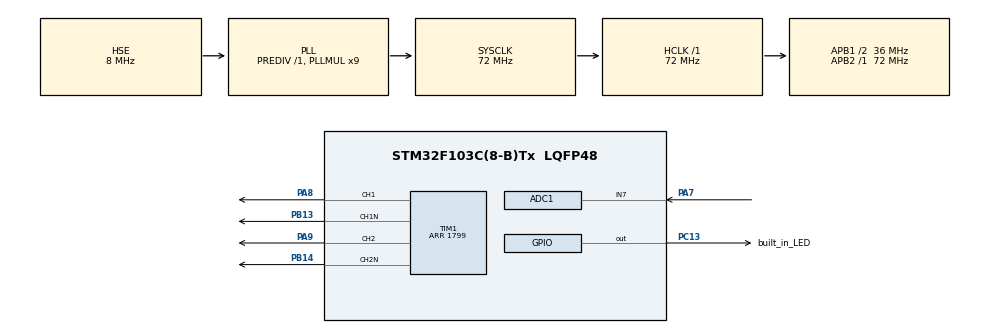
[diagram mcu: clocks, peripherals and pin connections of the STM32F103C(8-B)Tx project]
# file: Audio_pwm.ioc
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ADC1.Channel-2\#ChannelRegularConversion=ADC_CHANNEL_7
ADC1.ContinuousConvMode=DISABLE
ADC1.EnableInjectedConversion=DISABLE
ADC1.EnableRegularConversion=ENABLE
ADC1.ExternalTrigConv=ADC_EXTERNALTRIGCONV_T3_TRGO
ADC1.NbrOfConversionFlag=1
ADC1.Rank-2\#ChannelRegularConversion=1
ADC1.SamplingTime-2\#ChannelRegularConversion=ADC_SAMPLETIME_13CYCLES_5
ADC1.master=1
Dma.ADC1.0.Direction=DMA_PERIPH_TO_MEMORY
Dma.ADC1.0.Instance=DMA1_Channel1
Dma.ADC1.0.MemDataAlignment=DMA_MDATAALIGN_HALFWORD
Dma.ADC1.0.MemInc=DMA_MINC_ENABLE
Dma.ADC1.0.Mode=DMA_CIRCULAR
Dma.ADC1.0.PeriphDataAlignment=DMA_PDATAALIGN_HALFWORD
Dma.ADC1.0.PeriphInc=DMA_PINC_DISABLE
Dma.ADC1.0.Priority=DMA_PRIORITY_VERY_HIGH
Dma.Request0=ADC1
Mcu.Family=STM32F1
Mcu.Name=STM32F103C(8-B)Tx
Mcu.Package=LQFP48
NVIC.DMA1_Channel1_IRQn=true\:0\:0\:false\:false\:true\:false\:true\:true
NVIC.PriorityGroup=NVIC_PRIORITYGROUP_4
PA13.Mode=Serial_Wire
PA13.Signal=SYS_JTMS-SWDIO
PA14.Mode=Serial_Wire
PA14.Signal=SYS_JTCK-SWCLK
PA7.Signal=ADCx_IN7
PA8.Signal=S_TIM1_CH1
PA9.Signal=S_TIM1_CH2
PB13.Mode=PWM Generation1 CH1 CH1N
PB13.Signal=TIM1_CH1N
PB14.Mode=PWM Generation2 CH2 CH2N
PB14.Signal=TIM1_CH2N
PC13-TAMPER-RTC.GPIO_Label=built_in_LED
PC13-TAMPER-RTC.GPIO_PuPd=GPIO_PULLUP
PC13-TAMPER-RTC.Signal=GPIO_Output
PD0-OSC_IN.Mode=HSE-External-Oscillator
PD0-OSC_IN.Signal=RCC_OSC_IN
PD1-OSC_OUT.Mode=HSE-External-Oscillator
PD1-OSC_OUT.Signal=RCC_OSC_OUT
ProjectManager.HeapSize=0x200
ProjectManager.StackSize=0x400
ProjectManager.TargetToolchain=STM32CubeIDE
RCC.ADCPresc=RCC_ADCPCLK2_DIV6
RCC.AHBFreq_Value=72000000
RCC.APB1CLKDivider=RCC_HCLK_DIV2
RCC.APB1Freq_Value=36000000
RCC.APB1TimFreq_Value=72000000
RCC.APB2Freq_Value=72000000
RCC.APB2TimFreq_Value=72000000
RCC.HCLKFreq_Value=72000000
RCC.PLLMUL=RCC_PLL_MUL9
RCC.PLLSourceVirtual=RCC_PLLSOURCE_HSE
RCC.SYSCLKFreq_VALUE=72000000
RCC.SYSCLKSource=RCC_SYSCLKSOURCE_PLLCLK
RCC.USBFreq_Value=72000000
SH.ADCx_IN7.0=ADC1_IN7,IN7
SH.S_TIM1_CH1.0=TIM1_CH1,PWM Generation1 CH1 CH1N
SH.S_TIM1_CH2.0=TIM1_CH2,PWM Generation2 CH2 CH2N
TIM1.Channel-PWM\ Generation1\ CH1\ CH1N=TIM_CHANNEL_1
TIM1.Channel-PWM\ Generation2\ CH2\ CH2N=TIM_CHANNEL_2
TIM1.Period=1799
TIM1.Pulse-PWM\ Generation1\ CH1\ CH1N=900
TIM1.Pulse-PWM\ Generation2\ CH2\ CH2N=900
TIM3.Period=9
TIM3.Prescaler=71
TIM3.TIM_MasterOutputTrigger=TIM_TRGO_UPDATE
TIM3.TIM_MasterSlaveMode=TIM_MASTERSLAVEMODE_DISABLE
VP_TIM1_VS_ClockSourceINT.Mode=Internal
VP_TIM3_VS_ClockSourceINT.Mode=Internal
board=custom

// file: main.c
/* USER CODE BEGIN Header */
/**
  ******************************************************************************
  * @file           : main.c
  * @brief          : Main program body
  ******************************************************************************
  * @attention
  *
  * Copyright (c) 2026 STMicroelectronics.
  * All rights reserved.
  *
  * This software is licensed under terms that can be found in the LICENSE file
  * in the root directory of this software component.
  * If no LICENSE file comes with this software, it is provided AS-IS.
  *
  ******************************************************************************
  */
/* USER CODE END Header */
#include "main.h"

/* USER CODE BEGIN PTD */
/* ADC State define */
typedef enum {
	ADC_STATE_NONE,
	ADC_STATE_HALF,
	ADC_STATE_FULL
}ADC_DMA_state_t;

/* USER CODE END PTD */

/* USER CODE BEGIN PD */
#define PWM_OVERFLOW 1500 //(PWM_HALF+600)
#define PWM_HALF 900 // (PWM_ARR / 2), this is mid value of PWM duty cycle
#define PWM_UNDERFLOW 300 // (PWM_HALF-600)
#define ADC_MID_VALUE 2048 //ADC input range / 2 = 2048

#define BUFFER_SIZE 100
#define BUFFER_SIZE_HALF 50

/* USER CODE END PD */

ADC_HandleTypeDef hadc1;
DMA_HandleTypeDef hdma_adc1;

TIM_HandleTypeDef htim1;
TIM_HandleTypeDef htim3;

/* USER CODE BEGIN PV */
volatile uint16_t audio_buffer[BUFFER_SIZE]; //audio signal buffer
volatile ADC_DMA_state_t adc_conv_flag = ADC_STATE_NONE;
/* USER CODE END PV */

void SystemClock_Config(void);
static void MX_GPIO_Init(void);
static void MX_DMA_Init(void);
static void MX_ADC1_Init(void);
static void MX_TIM1_Init(void);
static void MX_TIM3_Init(void);
/* USER CODE BEGIN PFP */

/*Check MCU Status*/
static inline void Heartbeat();

/* caculate PWM duty cycle */
static inline void audio_dsp(volatile uint16_t *buf, uint16_t start_index, uint16_t last_index, size_t cal_size);

/* USER CODE END PFP */

/* USER CODE BEGIN 0 */

/*Check MCU Status*/
static inline void Heartbeat() {
	static uint32_t prev_tick_val = 0;

	if (HAL_GetTick() - prev_tick_val > 500) {
		prev_tick_val = HAL_GetTick();
		HAL_GPIO_TogglePin(GPIOC, GPIO_PIN_13);
	}
}

static inline void audio_dsp(volatile uint16_t *buf, uint16_t start_index, uint16_t last_index, size_t cal_size) {

	/* array for save calculation result */
	static int32_t deviation;

	/* caculate PWM deviation */
	for (int i = start_index; i<last_index+1; i++) {
		deviation = ((((int32_t)buf[i]-(int32_t)ADC_MID_VALUE)*600)>>11)+PWM_HALF;

		/* check value */
		if (deviation > PWM_OVERFLOW) {
			deviation = PWM_OVERFLOW;
		} else if (deviation < PWM_UNDERFLOW) {
			deviation = PWM_UNDERFLOW;
		}

		/* final pwm_out */
		__HAL_TIM_SET_COMPARE(&htim1, TIM_CHANNEL_1,(uint16_t)deviation);
		__HAL_TIM_SET_COMPARE(&htim1, TIM_CHANNEL_2,(uint16_t)deviation);
	}
}

/* USER CODE END 0 */

int main(void)
{

  /* MCU Configuration--------------------------------------------------------*/

  /* Reset of all peripherals, Initializes the Flash interface and the Systick. */
  HAL_Init();

  /* Configure the system clock */
  SystemClock_Config();

  /* Initialize all configured peripherals */
  MX_GPIO_Init();
  MX_DMA_Init();
  MX_ADC1_Init();
  MX_TIM1_Init();
  MX_TIM3_Init();
  /* USER CODE BEGIN 2 */
  /* Start PWM Output */
  HAL_TIM_PWM_Start(&htim1, TIM_CHANNEL_1);
  HAL_TIMEx_PWMN_Start(&htim1, TIM_CHANNEL_1);

  HAL_TIM_PWM_Start(&htim1, TIM_CHANNEL_2);
  HAL_TIMEx_PWMN_Start(&htim1, TIM_CHANNEL_2);

  /* Start TIM_3 */
  HAL_TIM_Base_Start(&htim3);

  /* Start ADC with DMA */
  HAL_ADC_Start_DMA(&hadc1, audio_buffer, BUFFER_SIZE);

  /* USER CODE END 2 */

  /* Infinite loop */
  while (1)
  {

    /* USER CODE BEGIN 3 */
	  Heartbeat();

	  /* PWM duty cycle Calculation */
	  if (adc_conv_flag != ADC_STATE_NONE) {
		  ADC_DMA_state_t current_flag = adc_conv_flag;
		  adc_conv_flag = ADC_STATE_NONE;
		  switch(current_flag) {
		  case ADC_STATE_HALF:
			  //audio_buffer[0]-[49]
			  audio_dsp(audio_buffer,0,BUFFER_SIZE_HALF, BUFFER_SIZE_HALF);
			  break;
		  case ADC_STATE_FULL:
			  //audio_buffer[50]-[99]
			  audio_dsp(audio_buffer,BUFFER_SIZE_HALF,BUFFER_SIZE, BUFFER_SIZE_HALF);
			  break;
		  default:
			  break;
		  }
	  }

  }
  /* USER CODE END 3 */
}

void SystemClock_Config(void)
{
  RCC_OscInitTypeDef RCC_OscInitStruct = {0};
  RCC_ClkInitTypeDef RCC_ClkInitStruct = {0};
  RCC_PeriphCLKInitTypeDef PeriphClkInit = {0};

  /** Initializes the RCC Oscillators according to the specified parameters
  * in the RCC_OscInitTypeDef structure.
  */
  RCC_OscInitStruct.OscillatorType = RCC_OSCILLATORTYPE_HSE;
  RCC_OscInitStruct.HSEState = RCC_HSE_ON;
  RCC_OscInitStruct.HSEPredivValue = RCC_HSE_PREDIV_DIV1;
  RCC_OscInitStruct.HSIState = RCC_HSI_ON;
  RCC_OscInitStruct.PLL.PLLState = RCC_PLL_ON;
  RCC_OscInitStruct.PLL.PLLSource = RCC_PLLSOURCE_HSE;
  RCC_OscInitStruct.PLL.PLLMUL = RCC_PLL_MUL9;
  if (HAL_RCC_OscConfig(&RCC_OscInitStruct) != HAL_OK)
  {
    Error_Handler();
  }

  /** Initializes the CPU, AHB and APB buses clocks
  */
  RCC_ClkInitStruct.ClockType = RCC_CLOCKTYPE_HCLK|RCC_CLOCKTYPE_SYSCLK
                              |RCC_CLOCKTYPE_PCLK1|RCC_CLOCKTYPE_PCLK2;
  RCC_ClkInitStruct.SYSCLKSource = RCC_SYSCLKSOURCE_PLLCLK;
  RCC_ClkInitStruct.AHBCLKDivider = RCC_SYSCLK_DIV1;
  RCC_ClkInitStruct.APB1CLKDivider = RCC_HCLK_DIV2;
  RCC_ClkInitStruct.APB2CLKDivider = RCC_HCLK_DIV1;

  if (HAL_RCC_ClockConfig(&RCC_ClkInitStruct, FLASH_LATENCY_2) != HAL_OK)
  {
    Error_Handler();
  }
  PeriphClkInit.PeriphClockSelection = RCC_PERIPHCLK_ADC;
  PeriphClkInit.AdcClockSelection = RCC_ADCPCLK2_DIV6;
  if (HAL_RCCEx_PeriphCLKConfig(&PeriphClkInit) != HAL_OK)
  {
    Error_Handler();
  }
}

static void MX_ADC1_Init(void)
{

  ADC_ChannelConfTypeDef sConfig = {0};

  /** Common config
  */
  hadc1.Instance = ADC1;
  hadc1.Init.ScanConvMode = ADC_SCAN_DISABLE;
  hadc1.Init.ContinuousConvMode = DISABLE;
  hadc1.Init.DiscontinuousConvMode = DISABLE;
  hadc1.Init.ExternalTrigConv = ADC_EXTERNALTRIGCONV_T3_TRGO;
  hadc1.Init.DataAlign = ADC_DATAALIGN_RIGHT;
  hadc1.Init.NbrOfConversion = 1;
  if (HAL_ADC_Init(&hadc1) != HAL_OK)
  {
    Error_Handler();
  }

  /** Configure Regular Channel
  */
  sConfig.Channel = ADC_CHANNEL_7;
  sConfig.Rank = ADC_REGULAR_RANK_1;
  sConfig.SamplingTime = ADC_SAMPLETIME_13CYCLES_5;
  if (HAL_ADC_ConfigChannel(&hadc1, &sConfig) != HAL_OK)
  {
    Error_Handler();
  }

}

static void MX_TIM1_Init(void)
{

  TIM_ClockConfigTypeDef sClockSourceConfig = {0};
  TIM_MasterConfigTypeDef sMasterConfig = {0};
  TIM_OC_InitTypeDef sConfigOC = {0};
  TIM_BreakDeadTimeConfigTypeDef sBreakDeadTimeConfig = {0};

  htim1.Instance = TIM1;
  htim1.Init.Prescaler = 0;
  htim1.Init.CounterMode = TIM_COUNTERMODE_UP;
  htim1.Init.Period = 1799;
  htim1.Init.ClockDivision = TIM_CLOCKDIVISION_DIV1;
  htim1.Init.RepetitionCounter = 0;
  htim1.Init.AutoReloadPreload = TIM_AUTORELOAD_PRELOAD_DISABLE;
  if (HAL_TIM_Base_Init(&htim1) != HAL_OK)
  {
    Error_Handler();
  }
  sClockSourceConfig.ClockSource = TIM_CLOCKSOURCE_INTERNAL;
  if (HAL_TIM_ConfigClockSource(&htim1, &sClockSourceConfig) != HAL_OK)
  {
    Error_Handler();
  }
  if (HAL_TIM_PWM_Init(&htim1) != HAL_OK)
  {
    Error_Handler();
  }
  sMasterConfig.MasterOutputTrigger = TIM_TRGO_RESET;
  sMasterConfig.MasterSlaveMode = TIM_MASTERSLAVEMODE_DISABLE;
  if (HAL_TIMEx_MasterConfigSynchronization(&htim1, &sMasterConfig) != HAL_OK)
  {
    Error_Handler();
  }
  sConfigOC.OCMode = TIM_OCMODE_PWM1;
  sConfigOC.Pulse = 900;
  sConfigOC.OCPolarity = TIM_OCPOLARITY_HIGH;
  sConfigOC.OCNPolarity = TIM_OCNPOLARITY_HIGH;
  sConfigOC.OCFastMode = TIM_OCFAST_DISABLE;
  sConfigOC.OCIdleState = TIM_OCIDLESTATE_RESET;
  sConfigOC.OCNIdleState = TIM_OCNIDLESTATE_RESET;
  if (HAL_TIM_PWM_ConfigChannel(&htim1, &sConfigOC, TIM_CHANNEL_1) != HAL_OK)
  {
    Error_Handler();
  }
  if (HAL_TIM_PWM_ConfigChannel(&htim1, &sConfigOC, TIM_CHANNEL_2) != HAL_OK)
  {
    Error_Handler();
  }
  sBreakDeadTimeConfig.OffStateRunMode = TIM_OSSR_DISABLE;
  sBreakDeadTimeConfig.OffStateIDLEMode = TIM_OSSI_DISABLE;
  sBreakDeadTimeConfig.LockLevel = TIM_LOCKLEVEL_OFF;
  sBreakDeadTimeConfig.DeadTime = 0;
  sBreakDeadTimeConfig.BreakState = TIM_BREAK_DISABLE;
  sBreakDeadTimeConfig.BreakPolarity = TIM_BREAKPOLARITY_HIGH;
  sBreakDeadTimeConfig.AutomaticOutput = TIM_AUTOMATICOUTPUT_DISABLE;
  if (HAL_TIMEx_ConfigBreakDeadTime(&htim1, &sBreakDeadTimeConfig) != HAL_OK)
  {
    Error_Handler();
  }
  HAL_TIM_MspPostInit(&htim1);

}

static void MX_TIM3_Init(void)
{

  TIM_ClockConfigTypeDef sClockSourceConfig = {0};
  TIM_MasterConfigTypeDef sMasterConfig = {0};

  htim3.Instance = TIM3;
  htim3.Init.Prescaler = 71;
  htim3.Init.CounterMode = TIM_COUNTERMODE_UP;
  htim3.Init.Period = 9;
  htim3.Init.ClockDivision = TIM_CLOCKDIVISION_DIV1;
  htim3.Init.AutoReloadPreload = TIM_AUTORELOAD_PRELOAD_DISABLE;
  if (HAL_TIM_Base_Init(&htim3) != HAL_OK)
  {
    Error_Handler();
  }
  sClockSourceConfig.ClockSource = TIM_CLOCKSOURCE_INTERNAL;
  if (HAL_TIM_ConfigClockSource(&htim3, &sClockSourceConfig) != HAL_OK)
  {
    Error_Handler();
  }
  sMasterConfig.MasterOutputTrigger = TIM_TRGO_UPDATE;
  sMasterConfig.MasterSlaveMode = TIM_MASTERSLAVEMODE_DISABLE;
  if (HAL_TIMEx_MasterConfigSynchronization(&htim3, &sMasterConfig) != HAL_OK)
  {
    Error_Handler();
  }

}

static void MX_DMA_Init(void)
{

  /* DMA controller clock enable */
  __HAL_RCC_DMA1_CLK_ENABLE();

  /* DMA interrupt init */
  /* DMA1_Channel1_IRQn interrupt configuration */
  HAL_NVIC_SetPriority(DMA1_Channel1_IRQn, 0, 0);
  HAL_NVIC_EnableIRQ(DMA1_Channel1_IRQn);

}

static void MX_GPIO_Init(void)
{
  GPIO_InitTypeDef GPIO_InitStruct = {0};

  /* GPIO Ports Clock Enable */
  __HAL_RCC_GPIOD_CLK_ENABLE();
  __HAL_RCC_GPIOA_CLK_ENABLE();
  __HAL_RCC_GPIOB_CLK_ENABLE();

  /*Configure GPIO pin Output Level */
  HAL_GPIO_WritePin(built_in_LED_GPIO_Port, built_in_LED_Pin, GPIO_PIN_RESET);

  /*Configure GPIO pin : built_in_LED_Pin */
  GPIO_InitStruct.Pin = built_in_LED_Pin;
  GPIO_InitStruct.Mode = GPIO_MODE_OUTPUT_PP;
  GPIO_InitStruct.Pull = GPIO_NOPULL;
  GPIO_InitStruct.Speed = GPIO_SPEED_FREQ_LOW;
  HAL_GPIO_Init(built_in_LED_GPIO_Port, &GPIO_InitStruct);

}

/* USER CODE BEGIN 4 */
void HAL_ADC_ConvHalfCpltCallback(ADC_HandleTypeDef* hadc){
	adc_conv_flag = ADC_STATE_HALF;
}

void HAL_ADC_ConvCpltCallback(ADC_HandleTypeDef* hadc) {
	adc_conv_flag = ADC_STATE_FULL;
}

/* USER CODE END 4 */

void Error_Handler(void)
{
  __disable_irq();
  while (1)
  {
  }
}
